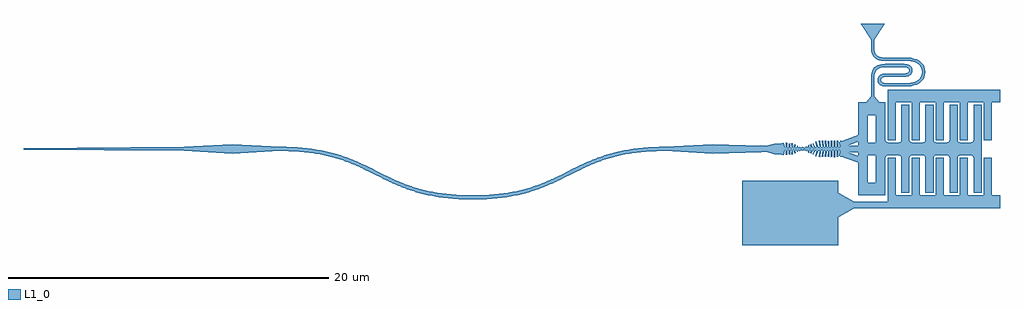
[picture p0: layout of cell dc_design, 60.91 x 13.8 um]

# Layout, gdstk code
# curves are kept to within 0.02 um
from math import pi, radians
import gdstk
lib = gdstk.Library(unit=1e-6, precision=1e-09)
def R(c, l, rs):  # rectangles x0, y0, x1, y1
    for r in rs: c.add(gdstk.rectangle(r[:2], r[2:], *l))
def A(c, l, x, y, w, h, nx, ny, dx, dy):  # array of equal rectangles
    R(c, l, [(x+i*dx, y+j*dy, x+i*dx+w, y+j*dy+h) for i in range(nx) for j in range(ny)])
def P(c, l, *ps):  # polygons
    for p in ps: c.add(gdstk.Polygon(p, *l))
L1_0 = (1, 0)

taper_l10_w0p08_w0p25_p_ = lib.new_cell('taper_L10_W0p08_W0p25_P_fed8ac8b')
P(taper_l10_w0p08_w0p25_p_, L1_0, [(10,-0.125),(0,-0.04),(0,0.04),(10,0.125)])

taper_l3_w0p25_w0p6_pno_ = lib.new_cell('taper_L3_W0p25_W0p6_PNo_16a215aa')
P(taper_l3_w0p25_w0p6_pno_, L1_0, [(3,-0.3),(0,-0.125),(0,0.125),(3,0.3)])

bend_s_s12_m3p025_n99_c_ = lib.new_cell('bend_s_S12_m3p025_N99_C_05d05151')
P(bend_s_s12_m3p025_n99_c_, L1_0, [(12,-3.15),(11.12,-3.127),(10.324,-3.061),(9.466,-2.932),(8.698,-2.757),(8.116,-2.581),(7.372,-2.301),(4.921,-1.125),(3.804,-0.681),(2.996,-0.448),(2.08,-0.269),(1.029,-0.157),(0,-0.125),(0,0.125),(0.88,0.102),(1.676,0.036),(2.534,-0.093),(3.302,-0.268),(3.884,-0.444),(4.628,-0.724),(7.079,-1.9),(8.196,-2.344),(9.004,-2.577),(9.92,-2.756),(10.971,-2.868),(12,-2.9)])

taper_l3_w0p6_w0p42_pno_ = lib.new_cell('taper_L3_W0p6_W0p42_PNo_e01949f9')
P(taper_l3_w0p6_w0p42_pno_, L1_0, [(0,-0.3),(0,0.3),(3,0.21),(3,-0.21)])

qt10 = lib.new_cell('QT10')
P(qt10, L1_0, [(4.542,-0.513),(4.536,-0.111),(4.428,-0.096),(4.428,-0.503),(4.356,-0.508),(4.351,-0.101),(4.264,-0.117),(4.253,-0.487),(4.161,-0.503),(4.181,-0.101),(4.089,-0.122),(4.073,-0.498),(3.98,-0.498),(4.006,-0.101),(3.919,-0.111),(3.893,-0.498),(3.795,-0.498),(3.836,-0.096),(3.733,-0.117),(3.697,-0.508),(3.604,-0.503),(3.66,-0.104),(3.57,-0.104),(3.445,-0.468),(3.385,-0.456),(3.481,-0.104),(3.397,-0.11),(3.272,-0.36),(3.218,-0.325),(3.307,-0.08),(3.224,-0.068),(3.134,-0.307),(3.068,-0.229),(3.098,-0.074),(3.021,-0.074),(2.997,-0.247),(2.931,-0.235),(2.907,-0.086),(2.823,-0.145),(2.716,-0.08),(2.578,-0.121),(2.495,-0.068),(2.405,-0.139),(2.316,-0.068),(2.28,-0.187),(2.25,-0.187),(2.19,-0.068),(2.13,-0.11),(2.16,-0.247),(2.118,-0.295),(2.047,-0.187),(2.076,-0.086),(1.975,-0.098),(1.969,-0.349),(1.885,-0.337),(1.903,-0.08),(1.808,-0.086),(1.814,-0.36),(1.724,-0.331),(1.718,-0.074),(1.64,-0.068),(1.634,-0.378),(1.557,-0.372),(1.551,-0.092),(1.473,-0.092),(1.425,-0.39),(1.18,-0.331),(0.822,-0.325),(0.314,-0.181),(-0.009,-0.211),(-0.009,0.218),(0.314,0.188),(0.822,0.332),(1.18,0.338),(1.425,0.397),(1.473,0.099),(1.551,0.099),(1.557,0.379),(1.634,0.385),(1.64,0.075),(1.718,0.081),(1.724,0.338),(1.814,0.367),(1.808,0.093),(1.903,0.087),(1.885,0.344),(1.969,0.356),(1.975,0.105),(2.076,0.093),(2.047,0.194),(2.118,0.302),(2.16,0.254),(2.13,0.117),(2.19,0.075),(2.25,0.194),(2.28,0.194),(2.316,0.075),(2.405,0.146),(2.495,0.075),(2.578,0.128),(2.716,0.087),(2.823,0.152),(2.907,0.093),(2.931,0.242),(2.997,0.254),(3.021,0.081),(3.098,0.081),(3.068,0.236),(3.134,0.314),(3.224,0.075),(3.307,0.087),(3.218,0.332),(3.272,0.367),(3.397,0.117),(3.481,0.111),(3.385,0.463),(3.445,0.475),(3.57,0.111),(3.66,0.111),(3.604,0.51),(3.697,0.515),(3.733,0.124),(3.836,0.103),(3.795,0.505),(3.893,0.505),(3.919,0.118),(4.006,0.108),(3.98,0.505),(4.073,0.505),(4.089,0.129),(4.181,0.108),(4.161,0.51),(4.253,0.494),(4.264,0.124),(4.351,0.108),(4.356,0.515),(4.428,0.51),(4.428,0.103),(4.536,0.118),(4.542,0.52),(4.619,0.515),(4.634,0.108),(4.727,0.098),(4.727,0.499),(4.815,0.505),(4.815,0.103),(4.923,0.108),(4.928,0.51),(5.015,0.51),(4.995,0.113),(5.134,0.103),(5.16,0.396),(5.293,0.489),(5.293,-0.482),(5.16,-0.389),(5.134,-0.096),(4.995,-0.106),(5.015,-0.503),(4.928,-0.503),(4.923,-0.101),(4.815,-0.096),(4.815,-0.498),(4.727,-0.492),(4.727,-0.091),(4.634,-0.101),(4.619,-0.508)])

straight_l1_n2_csstrip_w = lib.new_cell('straight_L1_N2_CSstrip_W0p4_L1_0')
R(straight_l1_n2_csstrip_w, L1_0, [(0,-0.2,1,0.2)])

straight_l1p6_n2_csstri_ = lib.new_cell('straight_L1p6_N2_CSstri_b7671ca1')
R(straight_l1p6_n2_csstri_, L1_0, [(0,-0.2,1.6,0.2)])

straight_l1p7_n2_csstri_ = lib.new_cell('straight_L1p7_N2_CSstri_c6ae0318')
R(straight_l1p7_n2_csstri_, L1_0, [(0,-0.2,1.7,0.2)])

straight_l0p6_n2_csstri_ = lib.new_cell('straight_L0p6_N2_CSstri_73dcb8d2')
R(straight_l0p6_n2_csstri_, L1_0, [(0,-2.9,0.6,2.9)])

unnamed_20 = lib.new_cell('Unnamed_20')
A(unnamed_20, L1_0, 0, -0.4, 0.5, 0.8, 1, 3, 0, 2.5)

straight_l6_n2_csstrip_w = lib.new_cell('straight_L6_N2_CSstrip_W0p8_L1_0')
R(straight_l6_n2_csstrip_w, L1_0, [(0,-0.4,6,0.4)])

straight_l7_n2_csstrip_w = lib.new_cell('straight_L7_N2_CSstrip_W0p8_L1_0')
R(straight_l7_n2_csstrip_w, L1_0, [(0,-0.4,7,0.4)])

straight_l2p1_n2_csstri_ = lib.new_cell('straight_L2p1_N2_CSstri_8771163d')
R(straight_l2p1_n2_csstri_, L1_0, [(0,-0.2,2.1,0.2)])

taper_l1_w1p5_w0p4_pnon_ = lib.new_cell('taper_L1_W1p5_W0p4_PNon_81c67b57')
P(taper_l1_w1p5_w0p4_pnon_, L1_0, [(0,-0.75),(0,0.75),(1,0.2),(1,-0.2)])

c_straight_l6_n2_csstrip_w = lib.new_cell('straight_L6_N2_CSstrip_W4_L1_0')
R(c_straight_l6_n2_csstrip_w, L1_0, [(0,-2,6,2)])

unnamed_45 = lib.new_cell('Unnamed_45')
A(unnamed_45, L1_0, 0, -1.25, 0.5, 2.5, 5, 2, 1.5, 3)

unnamed_64 = lib.new_cell('Unnamed_64')
A(unnamed_64, L1_0, 0, -1.25, 0.5, 2.5, 5, 2, 1.5, 3.6)

unnamed_76 = lib.new_cell('Unnamed_76')
P(unnamed_76, L1_0, [(0,0),(0,0.143),(0.002,0.124),(0.011,0.093),(0.023,0.069),(0.039,0.049),(0.069,0.023),(0.093,0.011),(0.124,0.002),(0.143,0)],
  [(1.5,0),(1.5,0.143),(1.502,0.124),(1.511,0.093),(1.523,0.069),(1.539,0.049),(1.569,0.023),(1.593,0.011),(1.624,0.002),(1.643,0)],
  [(3,0),(3,0.143),(3.002,0.124),(3.011,0.093),(3.023,0.069),(3.039,0.049),(3.069,0.023),(3.093,0.011),(3.124,0.002),(3.143,0)],
  [(4.5,0),(4.5,0.143),(4.502,0.124),(4.511,0.093),(4.523,0.069),(4.539,0.049),(4.569,0.023),(4.593,0.011),(4.624,0.002),(4.643,0)])

taper_l0p8_w1p5_w0p2_pn_ = lib.new_cell('taper_L0p8_W1p5_W0p2_PN_5f3e81db')
P(taper_l0p8_w1p5_w0p2_pn_, L1_0, [(0,-0.75),(0,0.75),(0.8,0.1),(0.8,-0.1)])

straight_l1p1_n2_csxs_35 = lib.new_cell('straight_L1p1_N2_CSxs_35555af9')
R(straight_l1p1_n2_csxs_35, L1_0, [(0,-0.1,1.1,0.1)])

bend_euler_r0p8_am90_p0_ = lib.new_cell('bend_euler_R0p8_Am90_P0_4fc80296')
P(bend_euler_r0p8_am90_p0_, L1_0, [(0.7,-0.8),(0.693,-0.592),(0.649,-0.404),(0.548,-0.252),(0.396,-0.151),(0.208,-0.107),(0,-0.1),(0,0.1),(0.235,0.092),(0.477,0.036),(0.692,-0.108),(0.836,-0.323),(0.892,-0.565),(0.9,-0.8)])

bend_euler_r0p3_am180_p_ = lib.new_cell('bend_euler_R0p3_Am180_P_26d4bffa')
P(bend_euler_r0p3_am180_p_, L1_0, [(0,-0.7),(0,-0.5),(0.168,-0.492),(0.3,-0.447),(0.358,-0.386),(0.381,-0.3),(0.358,-0.214),(0.3,-0.153),(0.168,-0.108),(0,-0.1),(0,0.1),(0.198,0.09),(0.341,0.052),(0.475,-0.037),(0.57,-0.203),(0.583,-0.3),(0.533,-0.487),(0.475,-0.563),(0.341,-0.652),(0.198,-0.69)])

straight_l1_n2_csxs_3555 = lib.new_cell('straight_L1_N2_CSxs_35555af9')
R(straight_l1_n2_csxs_3555, L1_0, [(0,-0.1,1,0.1)])

bend_euler_r0p3_a180_p0_ = lib.new_cell('bend_euler_R0p3_A180_P0_368d86a4')
P(bend_euler_r0p3_a180_p0_, L1_0, [(0,-0.1),(0,0.1),(0.168,0.108),(0.3,0.153),(0.358,0.214),(0.381,0.3),(0.358,0.386),(0.3,0.447),(0.168,0.492),(0,0.5),(0,0.7),(0.198,0.69),(0.341,0.652),(0.475,0.563),(0.57,0.397),(0.583,0.3),(0.533,0.113),(0.475,0.037),(0.341,-0.052),(0.198,-0.09)])

bend_euler_r0p8_a180_p0_ = lib.new_cell('bend_euler_R0p8_A180_P0_5fb6521c')
P(bend_euler_r0p8_a180_p0_, L1_0, [(0,-0.1),(0,0.1),(0.473,0.122),(0.763,0.2),(0.891,0.268),(1.102,0.487),(1.164,0.638),(1.185,0.8),(1.164,0.962),(1.102,1.113),(0.891,1.332),(0.763,1.4),(0.473,1.478),(0,1.5),(0,1.7),(0.503,1.676),(0.842,1.584),(1.002,1.5),(1.145,1.384),(1.276,1.214),(1.359,1.014),(1.387,0.8),(1.359,0.586),(1.276,0.386),(1.145,0.216),(0.842,0.016),(0.503,-0.076)])

c_bend_euler_r0p8_am90_p0_ = lib.new_cell('bend_euler_R0p8_Am90_P0_b08d57e7')
P(c_bend_euler_r0p8_am90_p0_, L1_0, [(0.7,-0.8),(0.681,-0.505),(0.589,-0.296),(0.504,-0.211),(0.348,-0.132),(0,-0.1),(0,0.1),(0.266,0.088),(0.476,0.035),(0.626,-0.052),(0.748,-0.174),(0.835,-0.324),(0.877,-0.464),(0.9,-0.8)])

straight_l0p4_n2_csxs_35 = lib.new_cell('straight_L0p4_N2_CSxs_35555af9')
R(straight_l0p4_n2_csxs_35, L1_0, [(0,-0.1,0.4,0.1)])

taper_l1_w0p2_w1p5_pnon_ = lib.new_cell('taper_L1_W0p2_W1p5_PNon_df046ba3')
P(taper_l1_w0p2_w1p5_pnon_, L1_0, [(1,-0.75),(0,-0.1),(0,0.1),(1,0.75)])

dc_design = lib.new_cell('dc_design')
dc_design.add(gdstk.Reference(taper_l10_w0p08_w0p25_p_, (-22,3.145)))
dc_design.add(gdstk.Reference(taper_l3_w0p25_w0p6_pno_, (-12,3.145)))
dc_design.add(gdstk.Reference(taper_l3_w0p25_w0p6_pno_, (-6,3.145), rotation=pi, x_reflection=True))
dc_design.add(gdstk.Reference(bend_s_s12_m3p025_n99_c_, (-6,3.145)))
dc_design.add(gdstk.Reference(bend_s_s12_m3p025_n99_c_, (6,0.12), x_reflection=True))
dc_design.add(gdstk.Reference(taper_l3_w0p25_w0p6_pno_, (18,3.145)))
dc_design.add(gdstk.Reference(taper_l3_w0p6_w0p42_pno_, (21,3.145)))
dc_design.add(gdstk.Reference(qt10, (24,3.145)))
dc_design.add(gdstk.Reference(straight_l1_n2_csstrip_w, (29.063,3.145)))
dc_design.add(gdstk.Reference(straight_l1p6_n2_csstri_, (28.913,3.375), rotation=radians(20)))
dc_design.add(gdstk.Reference(straight_l1p7_n2_csstri_, (28.913,2.915), rotation=radians(340)))
dc_design.add(gdstk.Reference(straight_l0p6_n2_csstri_, (30.063,3.145)))
dc_design.add(gdstk.Reference(unnamed_20, (30.663,0.645)))
dc_design.add(gdstk.Reference(straight_l0p6_n2_csstri_, (31.163,3.145)))
dc_design.add(gdstk.Reference(straight_l6_n2_csstrip_w, (31.763,3.145)))
dc_design.add(gdstk.Reference(straight_l7_n2_csstrip_w, (31.913,6.445)))
dc_design.add(gdstk.Reference(straight_l7_n2_csstrip_w, (31.913,-0.155)))
dc_design.add(gdstk.Reference(straight_l2p1_n2_csstri_, (29.813,-0.355)))
dc_design.add(gdstk.Reference(taper_l1_w1p5_w0p4_pnon_, (28.813,-0.355)))
dc_design.add(gdstk.Reference(c_straight_l6_n2_csstrip_w, (22.813,-0.855)))
dc_design.add(gdstk.Reference(unnamed_45, (31.263,1.645)))
dc_design.add(gdstk.Reference(unnamed_64, (31.913,1.345)))
dc_design.add(gdstk.Reference(unnamed_76, (31.763,3.545)))
dc_design.add(gdstk.Reference(unnamed_76, (31.763,2.745), x_reflection=True))
dc_design.add(gdstk.Reference(unnamed_76, (37.263,3.545), rotation=pi, x_reflection=True))
dc_design.add(gdstk.Reference(unnamed_76, (37.263,2.745), rotation=pi))
dc_design.add(gdstk.Reference(taper_l0p8_w1p5_w0p2_pn_, (30.963,5.645), rotation=pi/2))
dc_design.add(gdstk.Reference(straight_l1p1_n2_csxs_35, (30.963,6.445), rotation=pi/2))
dc_design.add(gdstk.Reference(bend_euler_r0p8_am90_p0_, (30.963,7.545), rotation=pi/2))
dc_design.add(gdstk.Reference(straight_l1p1_n2_csxs_35, (31.763,8.345)))
dc_design.add(gdstk.Reference(bend_euler_r0p3_am180_p_, (32.863,8.345)))
dc_design.add(gdstk.Reference(straight_l1_n2_csxs_3555, (32.863,7.745), rotation=pi))
dc_design.add(gdstk.Reference(bend_euler_r0p3_a180_p0_, (31.863,7.745), rotation=pi))
dc_design.add(gdstk.Reference(straight_l1_n2_csxs_3555, (31.863,7.145)))
dc_design.add(gdstk.Reference(bend_euler_r0p8_a180_p0_, (32.863,7.145)))
dc_design.add(gdstk.Reference(straight_l1p1_n2_csxs_35, (32.863,8.745), rotation=pi))
dc_design.add(gdstk.Reference(c_bend_euler_r0p8_am90_p0_, (31.763,8.745), rotation=pi))
dc_design.add(gdstk.Reference(straight_l0p4_n2_csxs_35, (30.963,9.545), rotation=pi/2))
dc_design.add(gdstk.Reference(taper_l1_w0p2_w1p5_pnon_, (30.963,9.945), rotation=pi/2))

lib.write_gds('dc_design.gds')
